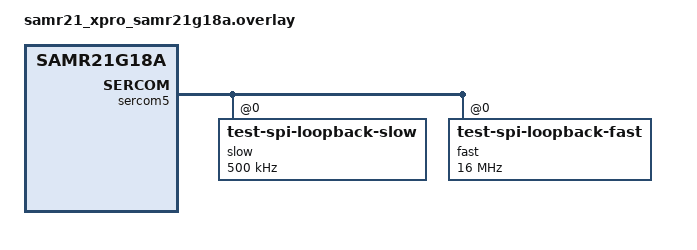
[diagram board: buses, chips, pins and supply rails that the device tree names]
/*
 * Copyright (c) 2020 Stephanos Ioannidis <root@stephanos.io>
 *
 * SPDX-License-Identifier: Apache-2.0
 */

&sercom5 {
	/* Internally connect MOSI to MISO for loop-back operation */
	dipo = <0>;
	dopo = <0>;
	slow@0 {
		compatible = "test-spi-loopback-slow";
		reg = <0>;
		spi-max-frequency = <500000>;
	};
	fast@0 {
		compatible = "test-spi-loopback-fast";
		reg = <0>;
		spi-max-frequency = <16000000>;
	};
};
